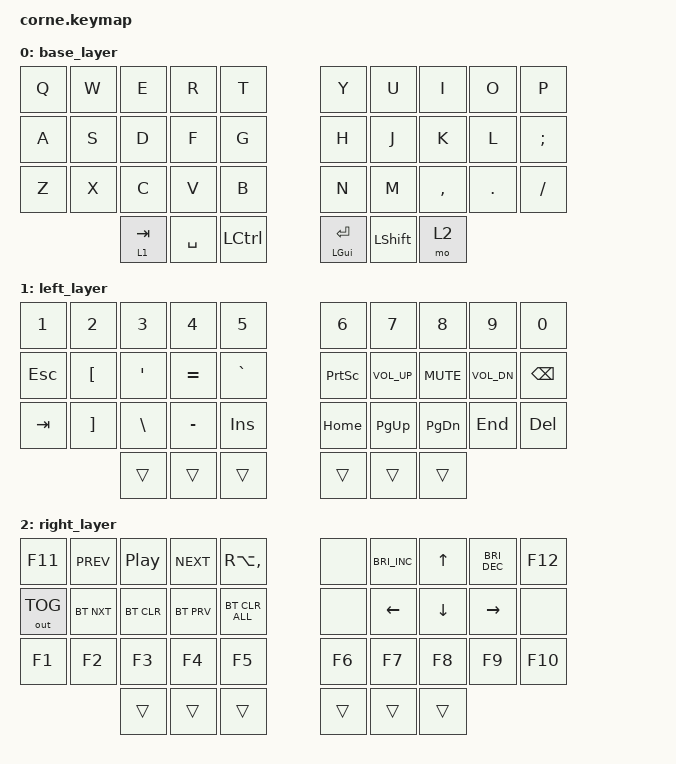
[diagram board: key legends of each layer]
#include <behaviors.dtsi>
#include <dt-bindings/zmk/bt.h>
#include <dt-bindings/zmk/keys.h>
#include <dt-bindings/zmk/outputs.h>

/ {
    chosen { zmk,matrix_transform = &five_column_transform; };

    conditional_layers { compatible = "zmk,conditional-layers"; };

    behaviors {
        rpi: require_prior_idle {
            compatible = "zmk,behavior-hold-tap";
            #binding-cells = <2>;
            flavor = "tap-preferred";
            tapping-term-ms = <200>;
            quick-tap-ms = <200>;
            require-prior-idle-ms = <125>;
            bindings = <&kp>, <&kp>;
        };
    };

    keymap {
        compatible = "zmk,keymap";

        base_layer {
            bindings = <
  &kp Q  &kp W  &kp E      &kp R      &kp T               &kp Y               &kp U           &kp I      &kp O    &kp P
  &kp A  &kp S  &kp D      &kp F      &kp G               &kp H               &kp J           &kp K      &kp L    &kp SEMICOLON
  &kp Z  &kp X  &kp C      &kp V      &kp B               &kp N               &kp M           &kp COMMA  &kp DOT  &kp SLASH
                &lt 1 TAB  &kp SPACE  &kp LEFT_CONTROL    &mt LEFT_GUI ENTER  &kp LEFT_SHIFT  &mo 2
            >;
        };

        left_layer {
            bindings = <
  &kp N1      &kp N2             &kp N3         &kp N4     &kp N5       &kp NUMBER_6  &kp N7           &kp N8      &kp N9        &kp N0
  &kp ESCAPE  &kp LEFT_BRACKET   &kp SQT        &kp EQUAL  &kp GRAVE    &kp PSCRN     &kp C_VOLUME_UP  &kp C_MUTE  &kp C_VOL_DN  &kp BACKSPACE
  &kp TAB     &kp RIGHT_BRACKET  &kp BACKSLASH  &kp MINUS  &kp INS      &kp HOME      &kp PG_UP        &kp PG_DN   &kp END       &kp DEL
                                 &trans         &trans     &trans       &trans        &trans           &trans
            >;
        };

        right_layer {
            bindings = <
  &kp F11       &kp C_PREV  &kp C_PLAY_PAUSE  &kp C_NEXT  &kp RA(COMMA)     &none   &kp C_BRIGHTNESS_INC  &kp UP_ARROW    &kp C_BRIGHTNESS_DEC  &kp F12
  &out OUT_TOG  &bt BT_NXT  &bt BT_CLR        &bt BT_PRV  &bt BT_CLR_ALL    &none   &kp LEFT_ARROW        &kp DOWN_ARROW  &kp RIGHT_ARROW       &none
  &kp F1        &kp F2      &kp F3            &kp F4      &kp F5            &kp F6  &kp F7                &kp F8          &kp F9                &kp F10
                            &trans            &trans      &trans            &trans  &trans                &trans
            >;
        };
    };
};
